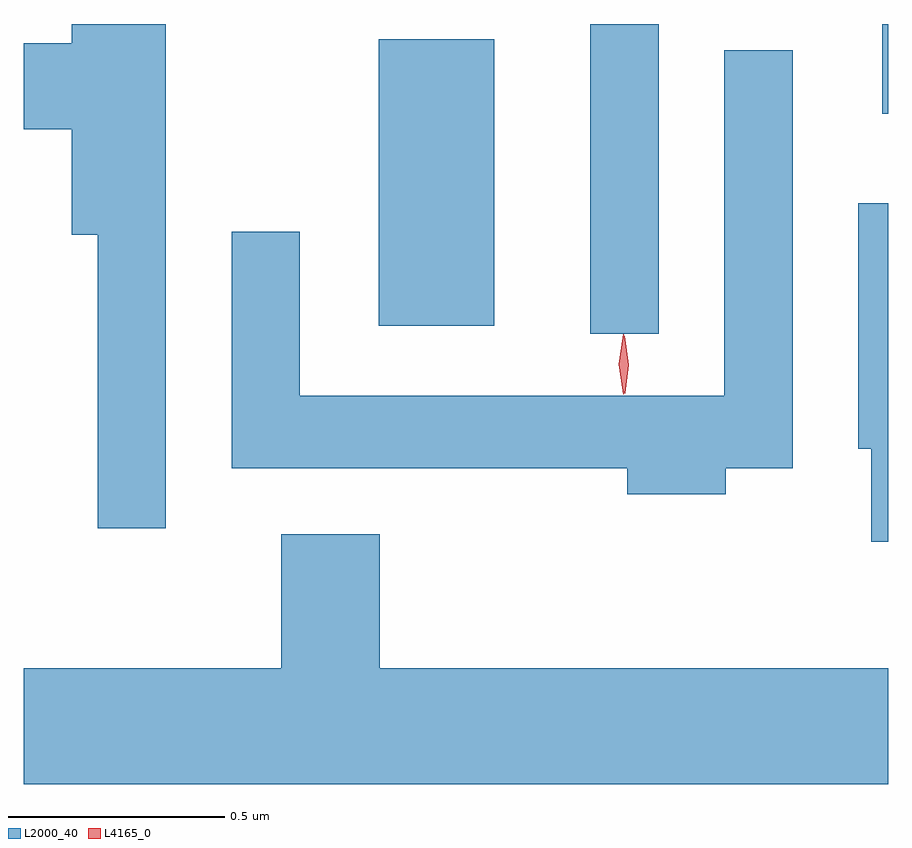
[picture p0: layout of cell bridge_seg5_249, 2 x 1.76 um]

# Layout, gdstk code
import gdstk
lib = gdstk.Library(unit=1e-6, precision=1e-09)
def R(c, l, rs):  # rectangles x0, y0, x1, y1
    for r in rs: c.add(gdstk.rectangle(r[:2], r[2:], *l))
def P(c, l, *ps):  # polygons
    for p in ps: c.add(gdstk.Polygon(p, *l))
L2000_40 = (2000, 40)
L4165_0 = (4165, 0)

bridge_seg5_249 = lib.new_cell('bridge_seg5_249')
R(bridge_seg5_249, L2000_40, [(1337.226,1428.978,1337.384,1429.694), (1336.736,1428.996,1337.004,1429.659), (1337.901,1429.486,1337.915,1429.694)])
P(bridge_seg5_249, L2000_40, [(1336.244,1429.694),(1336.026,1429.694),(1336.026,1429.649),(1335.915,1429.649),(1335.915,1429.451),(1336.026,1429.451),(1336.026,1429.206),(1336.086,1429.206),(1336.086,1428.528),(1336.244,1428.528)],
  [(1337.539,1428.666),(1337.694,1428.666),(1337.694,1429.633),(1337.536,1429.633),(1337.536,1428.834),(1336.554,1428.834),(1336.554,1429.213),(1336.396,1429.213),(1336.396,1428.666),(1337.311,1428.666),(1337.311,1428.606),(1337.539,1428.606)],
  [(1337.915,1429.279),(1337.846,1429.279),(1337.846,1428.711),(1337.876,1428.711),(1337.876,1428.496),(1337.915,1428.496)],
  [(1337.915,1428.204),(1336.739,1428.204),(1336.739,1428.514),(1336.511,1428.514),(1336.511,1428.204),(1335.915,1428.204),(1335.915,1427.936),(1337.915,1427.936)])
P(bridge_seg5_249, L4165_0, [(1337.305,1428.839),(1337.305,1428.84),(1337.295,1428.906),(1337.304,1428.972),(1337.305,1428.973),(1337.305,1428.972),(1337.315,1428.906),(1337.306,1428.84)],
  [(1337.302,1428.837),(1337.302,1428.838),(1337.292,1428.907),(1337.302,1428.976),(1337.302,1428.976),(1337.303,1428.976),(1337.312,1428.907),(1337.303,1428.838)])

lib.write_gds('bridge_seg5_249.gds')
